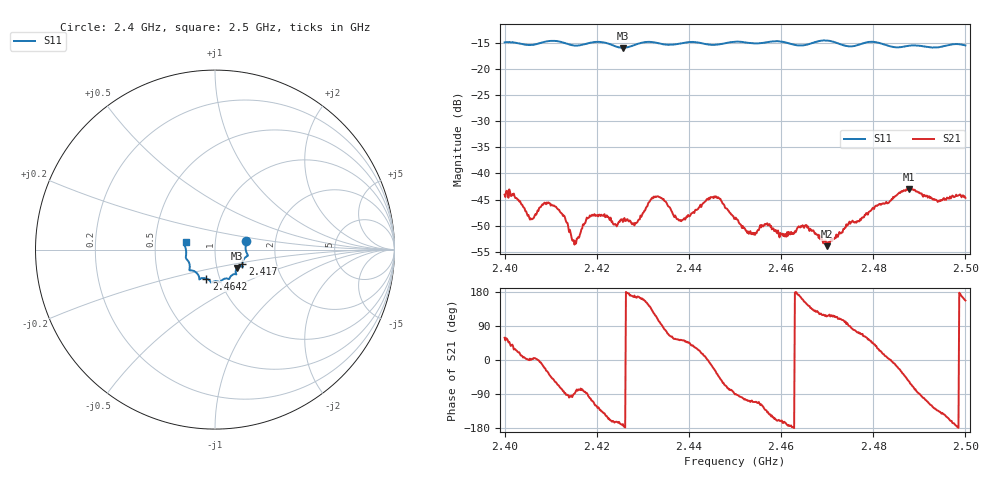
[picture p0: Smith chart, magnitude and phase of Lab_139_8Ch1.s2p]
# Hz S RI R 50
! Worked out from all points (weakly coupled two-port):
!   601 points, 2.4 GHz to 2.5 GHz, reference 50 ohm
!   highest |S21| = -42.95 dB at 2.4877 GHz (marker M1); lowest = -53.9 dB at 2.47 GHz (marker M2)
!   lowest |S11| = -15.9 dB at 2.4257 GHz (marker M3), VSWR 1.38, Z = 62.4 - j13.1 ohm
!   |S11| at or under -10 dB: start of sweep to end of sweep
!   S12 and S22 are empty: the file has one direction only
!   S11 on the Smith chart (normalised r, x): 2.4 GHz: 1.41, +0.15; 2.417 GHz: 1.34, -0.22; 2.4642 GHz: 0.86, -0.29; 2.5 GHz: 0.72, +0.06
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2.4e9  0.1731 0.0499  0.00325 0.00535  0 0  0 0
2.405833e9  0.1702 0.00317  0.00364 7.76e-05  0 0  0 0
2.408667e9  0.1807 -0.0265  0.0049 -0.0019  0 0  0 0
2.411e9  0.1831 -0.0342  0.00255 -0.0041  0 0  0 0
2.415e9  0.159 -0.0558  -5.99e-06 -0.0023  0 0  0 0
2.416667e9  0.1528 -0.075  0.000528 -0.00287  0 0  0 0
2.417e9  0.1523 -0.079  0.000556 -0.0032  0 0  0 0
2.419e9  0.1533 -0.0949  -0.00121 -0.00384  0 0  0 0
2.425667e9  0.1227 -0.1026  -0.00337 -0.000631  0 0  0 0
2.4285e9  0.1153 -0.1281  -0.00323 0.000815  0 0  0 0
2.433333e9  0.1126 -0.1365  -0.00158 0.00582  0 0  0 0
2.437833e9  0.0837 -0.1537  0.0021 0.00286  0 0  0 0
2.4455e9  0.0513 -0.163  0.00549 -0.0025  0 0  0 0
2.45e9  0.0296 -0.1809  -4.82e-05 -0.00367  0 0  0 0
2.454e9  0.0099 -0.1761  -0.000913 -0.00244  0 0  0 0
2.456833e9  -0.0127 -0.1802  -0.00224 -0.00239  0 0  0 0
2.464167e9  -0.0481 -0.1614  -0.00296 0.000676  0 0  0 0
2.466667e9  -0.0765 -0.16  -0.00197 0.00201  0 0  0 0
2.47e9  -0.0875 -0.166  -0.000866 0.00181  0 0  0 0
2.483333e9  -0.1408 -0.0894  0.00521 0.000337  0 0  0 0
2.487667e9  -0.1589 -0.0525  0.00404 -0.00586  0 0  0 0
2.5e9  -0.1635 0.0418  -0.00537 0.00227  0 0  0 0
